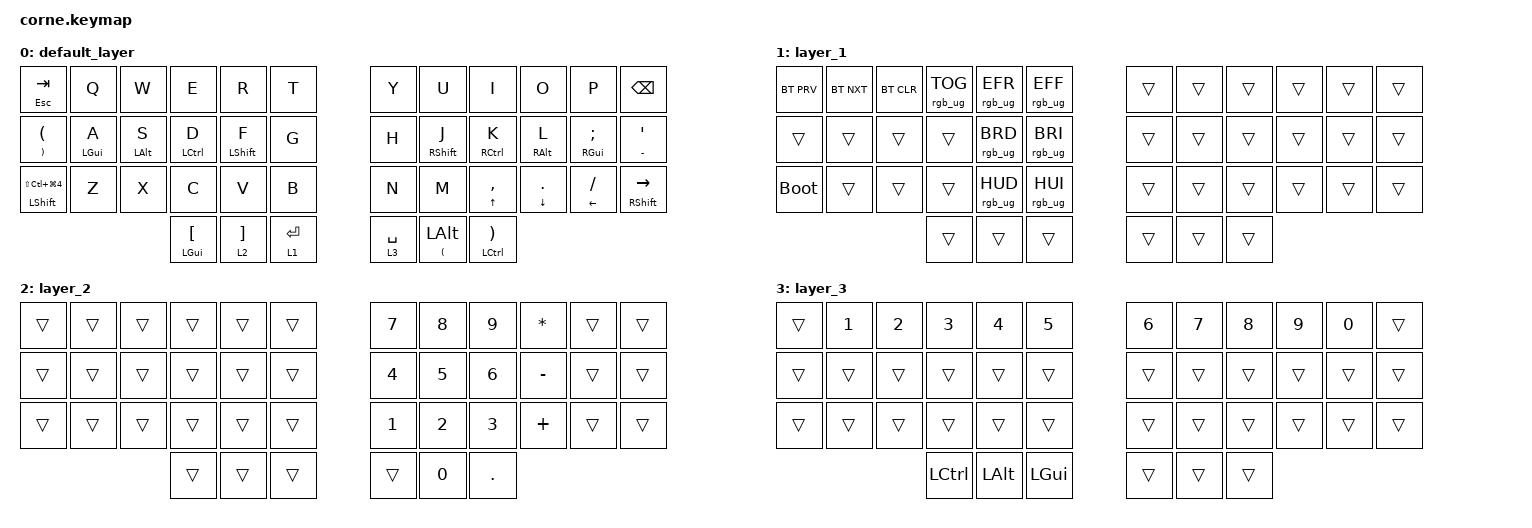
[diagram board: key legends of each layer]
/*
 * Copyright (c) 2020 The ZMK Contributors
 *
 * SPDX-License-Identifier: MIT
 */

#include <behaviors.dtsi>
#include <dt-bindings/zmk/bt.h>
#include <dt-bindings/zmk/keys.h>
#include <dt-bindings/zmk/rgb.h>

/ {
    behaviors {
        hm: homerow_mods {
            compatible = "zmk,behavior-hold-tap";
            label = "HOMEROW_MODS";
            #binding-cells = <2>;
            tapping-term-ms = <200>;
            quick_tap_ms = <0>;
            flavor = "tap-preferred";
            bindings = <&kp>, <&kp>;

            quick-tap-ms = <180>;
            global-quick-tap;
        };

        ltq: ltq {
            compatible = "zmk,behavior-hold-tap";
            label = "LTQ";
            bindings = <&mo>, <&kp>;

            #binding-cells = <2>;
            tapping-term-ms = <600>;
            global-quick-tap;
            quick-tap-ms = <400>;
        };
    };

    combos {
        compatible = "zmk,combos";

        left_bkt {
            bindings = <&kp LEFT_BRACKET>;
            key-positions = <4 3>;
            timeout-ms = <50>;
        };

        right_bkt {
            bindings = <&kp RBKT>;
            key-positions = <7 8>;
            timeout-ms = <50>;
        };

        left_par {
            bindings = <&kp LEFT_PARENTHESIS>;
            key-positions = <15 16>;
            timeout-ms = <50>;
        };

        right_par {
            bindings = <&kp RIGHT_PARENTHESIS>;
            key-positions = <19 20>;
            timeout-ms = <50>;
        };

        left_brace {
            bindings = <&kp LEFT_BRACE>;
            key-positions = <27 28>;
            timeout-ms = <50>;
        };

        right_brace {
            bindings = <&kp RIGHT_BRACE>;
            key-positions = <32 31>;
            timeout-ms = <50>;
        };

        bac {
            bindings = <&kp BACKSLASH>;
            key-positions = <5 6>;
        };

        pipe {
            bindings = <&kp PIPE>;
            key-positions = <17 18>;
        };
    };

    keymap {
        compatible = "zmk,keymap";

        default_layer {
            bindings = <
&mt ESCAPE TAB                          &kp Q           &kp W           &kp E                      &kp R                &kp T        &kp Y        &kp U                          &kp I                               &kp O                  &kp P                 &kp BACKSPACE
&mt RIGHT_PARENTHESIS LEFT_PARENTHESIS  &hm LEFT_GUI A  &hm LEFT_ALT S  &hm LCTRL D                &hm LEFT_SHIFT F     &kp G        &kp H        &hm RSHIFT J                   &hm RCTRL K                         &hm RIGHT_ALT L        &hm RGUI SEMICOLON    &mt MINUS SQT
&mt LSHFT LS(LC(LG(NUMBER_4)))          &kp Z           &kp X           &kp C                      &kp V                &kp B        &kp N        &kp M                          &mt UP_ARROW COMMA                  &mt DOWN_ARROW PERIOD  &mt LEFT_ARROW SLASH  &mt RIGHT_SHIFT RIGHT
                                                                        &mt LEFT_GUI LEFT_BRACKET  &lt 2 RIGHT_BRACKET  &lt 1 ENTER  &lt 3 SPACE  &mt LEFT_PARENTHESIS LEFT_ALT  &mt LEFT_CONTROL RIGHT_PARENTHESIS
            >;
        };

        layer_1 {
            bindings = <
&bt BT_PRV   &bt BT_NXT  &bt BT_CLR  &rgb_ug RGB_TOG  &rgb_ug RGB_EFR  &rgb_ug RGB_EFF  &trans  &trans  &trans  &trans  &trans  &trans
&trans       &trans      &trans      &trans           &rgb_ug RGB_BRD  &rgb_ug RGB_BRI  &trans  &trans  &trans  &trans  &trans  &trans
&bootloader  &trans      &trans      &trans           &rgb_ug RGB_HUD  &rgb_ug RGB_HUI  &trans  &trans  &trans  &trans  &trans  &trans
                                     &trans           &trans           &trans           &trans  &trans  &trans
            >;
        };

        layer_2 {
            bindings = <
&trans  &trans  &trans  &trans  &trans  &trans  &kp N7        &kp N8        &kp N9        &kp ASTERISK  &trans  &trans
&trans  &trans  &trans  &trans  &trans  &trans  &kp NUMBER_4  &kp N5        &kp NUMBER_6  &kp MINUS     &trans  &trans
&trans  &trans  &trans  &trans  &trans  &trans  &kp NUMBER_1  &kp NUMBER_2  &kp NUMBER_3  &kp PLUS      &trans  &trans
                        &trans  &trans  &trans  &trans        &kp N0        &kp PERIOD
            >;
        };

        layer_3 {
            bindings = <
&trans  &kp NUMBER_1  &kp NUMBER_2  &kp NUMBER_3  &kp N4    &kp N5    &kp NUMBER_6  &kp N7  &kp N8  &kp N9  &kp N0  &trans
&trans  &trans        &trans        &trans        &trans    &trans    &trans        &trans  &trans  &trans  &trans  &trans
&trans  &trans        &trans        &trans        &trans    &trans    &trans        &trans  &trans  &trans  &trans  &trans
                                    &kp LCTRL     &kp LALT  &kp LGUI  &trans        &trans  &trans
            >;
        };
    };
};
